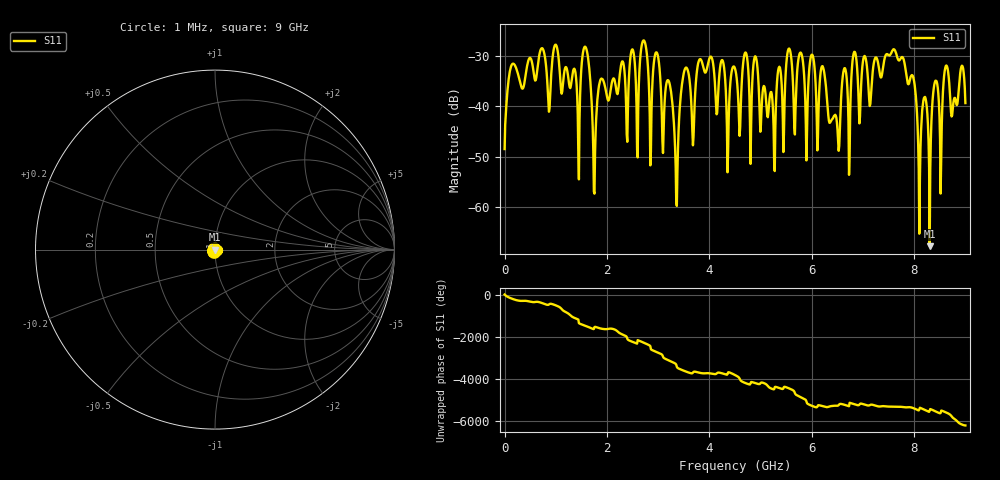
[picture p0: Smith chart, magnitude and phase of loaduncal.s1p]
# Hz S RI R 50
! CMT, SC5090, 20109241, 21.3.2/2
! Date: 11/4/2021 12:46:57 PM
! Data: Format (Calibration Info)
! Freq	S11:Re/Im(--)
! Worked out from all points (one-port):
!   801 points, 1 MHz to 9 GHz, reference 50 ohm
!   lowest |S11| = -67.9 dB at 8.303 GHz (marker M1), VSWR 1.00, Z = 50 - j0.0399 ohm
!   |S11| at or under -10 dB: start of sweep to end of sweep
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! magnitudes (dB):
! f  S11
! 1 MHz  -48.5
! 158.5 MHz  -31.5
! 1.126 GHz  -37.0
! 1.452 GHz  -54.6
! 1.587 GHz  -28.2
! 1.756 GHz  -57.4
! 1.88 GHz  -34.5
! 2.251 GHz  -33.6
! 2.599 GHz  -50.2
! 2.723 GHz  -26.8
! 2.858 GHz  -49.0
! 2.971 GHz  -29.2
! 3.376 GHz  -53.0
! 3.533 GHz  -32.3
! 3.679 GHz  -47.8
! 3.814 GHz  -30.5
! 4.253 GHz  -30.7
! 4.366 GHz  -49.1
! 4.5 GHz  -32.4
! 5.254 GHz  -44.2
! 5.625 GHz  -33.8
! 6.75 GHz  -41.1
! 6.829 GHz  -29.1
! 7.875 GHz  -35.5
! 8.303 GHz  -67.9
! 8.415 GHz  -34.9
! 8.516 GHz  -57.4
! 9 GHz  -39.3
